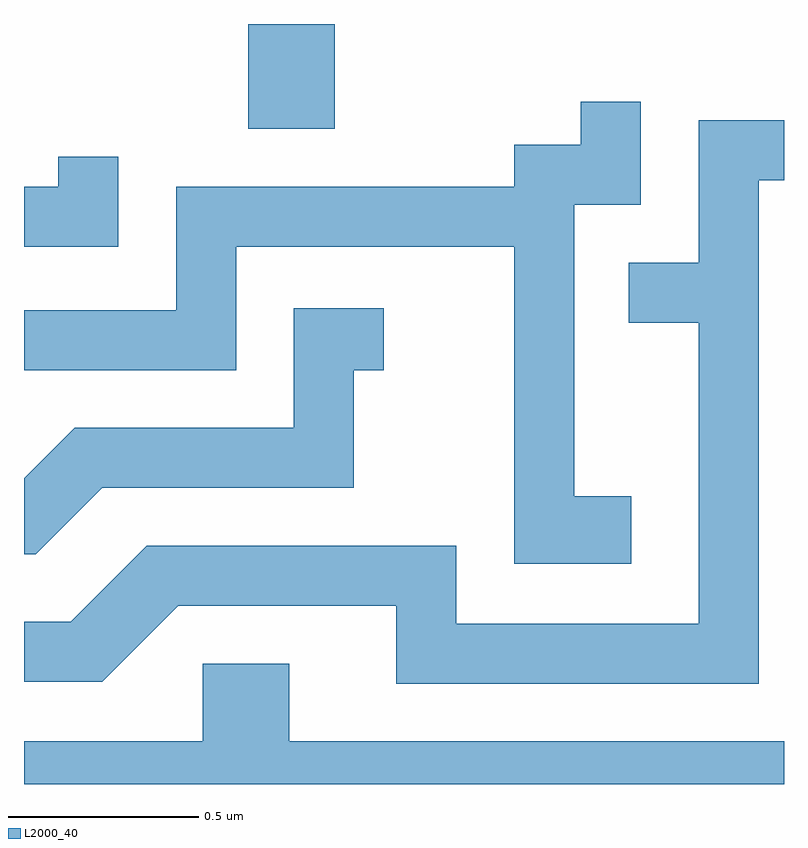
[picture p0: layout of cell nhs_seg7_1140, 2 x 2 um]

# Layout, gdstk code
import gdstk
lib = gdstk.Library(unit=1e-6, precision=1e-09)
def R(c, l, rs):  # rectangles x0, y0, x1, y1
    for r in rs: c.add(gdstk.rectangle(r[:2], r[2:], *l))
def P(c, l, *ps):  # polygons
    for p in ps: c.add(gdstk.Polygon(p, *l))
L2000_40 = (2000, 40)

nhs_seg7_1140 = lib.new_cell('nhs_seg7_1140')
R(nhs_seg7_1140, L2000_40, [(194.201,1713.976,194.429,1714.252)])
P(nhs_seg7_1140, L2000_40, [(195.209,1713.009),(195.059,1713.009),(195.059,1713.776),(195.234,1713.776),(195.234,1714.048),(195.076,1714.048),(195.076,1713.934),(194.901,1713.934),(194.901,1713.824),(194.011,1713.824),(194.011,1713.499),(193.611,1713.499),(193.611,1713.341),(194.169,1713.341),(194.169,1713.666),(194.901,1713.666),(194.901,1712.831),(195.209,1712.831)],
  [(195.544,1713.841),(195.611,1713.841),(195.611,1713.999),(195.386,1713.999),(195.386,1713.624),(195.203,1713.624),(195.203,1713.466),(195.386,1713.466),(195.386,1712.674),(194.749,1712.674),(194.749,1712.879),(193.934,1712.879),(193.734,1712.679),(193.611,1712.679),(193.611,1712.521),(193.817,1712.521),(194.017,1712.721),(194.591,1712.721),(194.591,1712.516),(195.544,1712.516)],
  [(193.859,1713.903),(193.701,1713.903),(193.701,1713.824),(193.611,1713.824),(193.611,1713.666),(193.859,1713.666)],
  [(193.817,1713.031),(194.479,1713.031),(194.479,1713.341),(194.558,1713.341),(194.558,1713.504),(194.321,1713.504),(194.321,1713.189),(193.744,1713.189),(193.611,1713.056),(193.611,1712.856),(193.642,1712.856)],
  [(195.611,1712.364),(194.309,1712.364),(194.309,1712.569),(194.081,1712.569),(194.081,1712.364),(193.611,1712.364),(193.611,1712.252),(195.611,1712.252)])

lib.write_gds('nhs_seg7_1140.gds')
